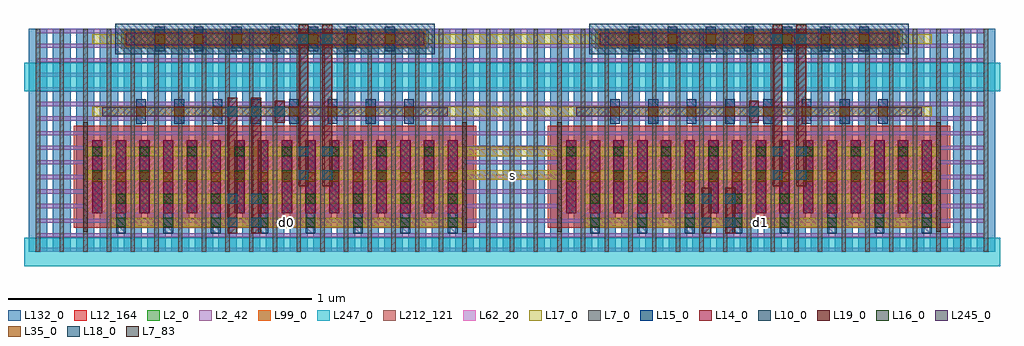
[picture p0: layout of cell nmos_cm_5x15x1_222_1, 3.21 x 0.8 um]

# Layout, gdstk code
import gdstk
lib = gdstk.Library(unit=1e-6, precision=1e-12)
def R(c, l, rs):  # rectangles x0, y0, x1, y1
    for r in rs: c.add(gdstk.rectangle(r[:2], r[2:], *l))
def A(c, l, x, y, w, h, nx, ny, dx, dy):  # array of equal rectangles
    R(c, l, [(x+i*dx, y+j*dy, x+i*dx+w, y+j*dy+h) for i in range(nx) for j in range(ny)])
L2_0 = (2, 0)
L2_42 = (2, 42)
L7_0 = (7, 0)
L7_83 = (7, 83)
L10_0 = (10, 0)
L12_164 = (12, 164)
L14_0 = (14, 0)
L15_0 = (15, 0)
L16_0 = (16, 0)
L17_0 = (17, 0)
L18_0 = (18, 0)
L19_0 = (19, 0)
L35_0 = (35, 0)
L62_20 = (62, 20)
L99_0 = (99, 0)
L132_0 = (132, 0)
L212_121 = (212, 121)
L245_0 = (245, 0)
L247_0 = (247, 0)

nmos_cm_5x15x1_222_1 = lib.new_cell('nmos_cm_5x15x1_222_1')
R(nmos_cm_5x15x1_222_1, L2_0, [(0.186,0.127,1.434,0.367), (1.746,0.127,2.994,0.367), (0.3035,0.671,1.3165,0.731), (1.8635,0.671,2.8765,0.731)])
A(nmos_cm_5x15x1_222_1, L2_42, 0.023, 0, 3.12, 0.014, 1, 16, 0, 0.048)
A(nmos_cm_5x15x1_222_1, L7_0, 0.023, 0, 0.014, 0.734, 41, 1, 0.078, 0)
R(nmos_cm_5x15x1_222_1, L7_83, [(0.179,0.067,0.193,0.427), (1.427,0.067,1.441,0.427), (1.739,0.067,1.753,0.427), (2.987,0.067,3.001,0.427)])
R(nmos_cm_5x15x1_222_1, L10_0, [(0.2835,0.651,1.3365,0.751), (1.8435,0.651,2.8965,0.751)])
R(nmos_cm_5x15x1_222_1, L12_164, [(0.147,0.079,1.473,0.415), (1.707,0.079,3.033,0.415)])
A(nmos_cm_5x15x1_222_1, L14_0, 0.208, 0.127, 0.034, 0.24, 16, 1, 0.078, 0)
A(nmos_cm_5x15x1_222_1, L14_0, 1.768, 0.127, 0.034, 0.24, 16, 1, 0.078, 0)
R(nmos_cm_5x15x1_222_1, L14_0, [(0.3185,0.681,1.3015,0.721), (1.8785,0.681,2.8615,0.721)])
A(nmos_cm_5x15x1_222_1, L15_0, 0.287, 0.061, 0.032, 0.067, 8, 1, 0.156, 0)
A(nmos_cm_5x15x1_222_1, L15_0, 1.847, 0.061, 0.032, 0.067, 8, 1, 0.156, 0)
A(nmos_cm_5x15x1_222_1, L15_0, 0.209, 0.127, 0.032, 0.24, 16, 1, 0.078, 0)
A(nmos_cm_5x15x1_222_1, L15_0, 1.769, 0.127, 0.032, 0.24, 16, 1, 0.078, 0)
A(nmos_cm_5x15x1_222_1, L15_0, 0.353, 0.422, 0.032, 0.08, 8, 1, 0.126, 0)
A(nmos_cm_5x15x1_222_1, L15_0, 1.913, 0.422, 0.032, 0.08, 8, 1, 0.126, 0)
A(nmos_cm_5x15x1_222_1, L15_0, 0.416, 0.661, 0.032, 0.08, 7, 1, 0.126, 0)
A(nmos_cm_5x15x1_222_1, L15_0, 1.976, 0.661, 0.032, 0.08, 7, 1, 0.126, 0)
A(nmos_cm_5x15x1_222_1, L16_0, 0.287, 0.081, 0.032, 0.032, 8, 2, 0.156, 0.078)
A(nmos_cm_5x15x1_222_1, L16_0, 1.847, 0.081, 0.032, 0.032, 8, 2, 0.156, 0.078)
A(nmos_cm_5x15x1_222_1, L16_0, 0.209, 0.237, 0.032, 0.032, 8, 2, 0.156, 0.078)
A(nmos_cm_5x15x1_222_1, L16_0, 1.769, 0.237, 0.032, 0.032, 8, 2, 0.156, 0.078)
A(nmos_cm_5x15x1_222_1, L16_0, 0.353, 0.446, 0.032, 0.032, 8, 1, 0.126, 0)
A(nmos_cm_5x15x1_222_1, L16_0, 1.913, 0.446, 0.032, 0.032, 8, 1, 0.126, 0)
A(nmos_cm_5x15x1_222_1, L16_0, 0.416, 0.685, 0.032, 0.032, 7, 1, 0.126, 0)
A(nmos_cm_5x15x1_222_1, L16_0, 1.976, 0.685, 0.032, 0.032, 7, 1, 0.126, 0)
R(nmos_cm_5x15x1_222_1, L17_0, [(0.267,0.081,1.431,0.113), (1.827,0.081,2.991,0.113), (0.267,0.159,1.431,0.191), (1.827,0.159,2.991,0.191), (0.186,0.237,1.434,0.269), (1.424,0.237,1.756,0.269), (1.746,0.237,2.994,0.269), (0.186,0.315,1.434,0.347), (1.424,0.315,1.756,0.347), (1.746,0.315,2.994,0.347), (0.209,0.446,1.411,0.478), (1.401,0.446,1.779,0.478), (1.769,0.446,2.971,0.478), (0.209,0.685,1.411,0.717), (1.401,0.685,1.779,0.717), (1.769,0.685,2.971,0.717)])
A(nmos_cm_5x15x1_222_1, L18_0, 0.654, 0.446, 0.032, 0.032, 3, 1, 0.078, 0)
R(nmos_cm_5x15x1_222_1, L18_0, [(0.654,0.081,0.686,0.113), (0.732,0.081,0.764,0.113), (2.214,0.081,2.246,0.113), (2.292,0.081,2.324,0.113), (0.654,0.159,0.686,0.191), (0.732,0.159,0.764,0.191), (2.214,0.159,2.246,0.191), (2.292,0.159,2.324,0.191), (0.888,0.237,0.92,0.269), (0.966,0.237,0.998,0.269), (2.448,0.237,2.48,0.269), (2.526,0.237,2.558,0.269), (0.888,0.315,0.92,0.347), (0.966,0.315,0.998,0.347), (2.448,0.315,2.48,0.347), (2.526,0.315,2.558,0.347), (2.37,0.446,2.402,0.478), (0.888,0.685,0.92,0.717), (0.966,0.685,0.998,0.717), (2.448,0.685,2.48,0.717), (2.526,0.685,2.558,0.717)])
R(nmos_cm_5x15x1_222_1, L19_0, [(0.654,0.061,0.686,0.211), (0.732,0.061,0.764,0.211), (2.214,0.061,2.246,0.211), (2.292,0.061,2.324,0.211), (0.654,0.201,0.686,0.508), (0.732,0.201,0.764,0.508), (0.888,0.217,0.92,0.367), (0.966,0.217,0.998,0.367), (2.448,0.217,2.48,0.367), (2.526,0.217,2.558,0.367), (0.888,0.357,0.92,0.747), (0.966,0.357,0.998,0.747), (2.448,0.357,2.48,0.747), (2.526,0.357,2.558,0.747), (0.81,0.426,0.842,0.498), (2.37,0.426,2.402,0.498)])
A(nmos_cm_5x15x1_222_1, L35_0, 0.209, 0.231, 0.032, 0.032, 16, 1, 0.078, 0)
A(nmos_cm_5x15x1_222_1, L35_0, 1.769, 0.231, 0.032, 0.032, 16, 1, 0.078, 0)
A(nmos_cm_5x15x1_222_1, L35_0, 0.353, 0.446, 0.032, 0.032, 8, 1, 0.126, 0)
A(nmos_cm_5x15x1_222_1, L35_0, 1.913, 0.446, 0.032, 0.032, 8, 1, 0.126, 0)
A(nmos_cm_5x15x1_222_1, L35_0, 0.416, 0.685, 0.032, 0.032, 7, 1, 0.126, 0)
A(nmos_cm_5x15x1_222_1, L35_0, 1.976, 0.685, 0.032, 0.032, 7, 1, 0.126, 0)
R(nmos_cm_5x15x1_222_1, L62_20, [(0.186,0.127,1.434,0.367), (1.746,0.127,2.994,0.367)])
R(nmos_cm_5x15x1_222_1, L99_0, [(0.186,0.127,1.434,0.367), (1.746,0.127,2.994,0.367), (0.3135,0.676,1.3065,0.726), (1.8735,0.676,2.8665,0.726)])
A(nmos_cm_5x15x1_222_1, L132_0, 0, 0, 0.06, 0.734, 41, 1, 0.078, 0)
R(nmos_cm_5x15x1_222_1, L212_121, [(0.186,0.127,1.434,0.367), (1.746,0.127,2.994,0.367)])
R(nmos_cm_5x15x1_222_1, L245_0, [(0.241,0.447,1.379,0.477), (1.801,0.447,2.939,0.477)])
R(nmos_cm_5x15x1_222_1, L247_0, [(-0.016,-0.047,1.636,0.047), (1.544,-0.047,3.196,0.047), (-0.016,0.529,1.636,0.623), (1.544,0.529,3.196,0.623)])
nmos_cm_5x15x1_222_1.add(gdstk.Label('s', (1.59,0.253), layer=16, texttype=20))
nmos_cm_5x15x1_222_1.add(gdstk.Label('d1', (2.409,0.097), layer=16, texttype=20))
nmos_cm_5x15x1_222_1.add(gdstk.Label('d0', (0.849,0.097), layer=16, texttype=20))

lib.write_gds('nmos_cm_5x15x1_222_1.gds')
